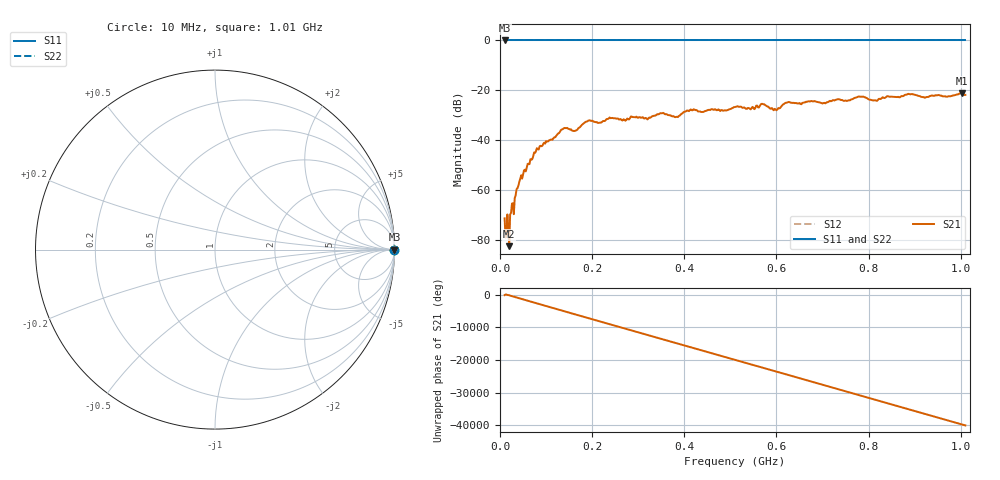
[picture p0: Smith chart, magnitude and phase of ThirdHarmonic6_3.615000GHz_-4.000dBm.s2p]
! 8/17/2025 12:05:06 PM
! C:\ANRITSUVNA\TEMP\TEMP.S2P
! CHANNEL.1
! TR.MEASUREMENT
! RAW.DATA
! RF.CORRECTION.OFF
! AVERAGING.OFF
! IF.BANDWIDTH: 5KHZ
! SWEEPTYPE:  FREQ.SWEEP(Linear)
! Reference Plane Port Info
! PORT:  PORT1  PORT2
! DISTANCE:  0  m  0  m
! TIME:  0  s  0  s
! PHASE.OFFSET:  0  deg.  0  deg.
! LOSS:  0  dB  0  dB
! REF.LOSS:  0  dB  0  dB
! REF.FREQ:  0  Hz  0  Hz
! Power Info
! POWER:  -20  dBm  -20  dBm
! EFF.POWER:  -20  dBm  -20  dBm
! SOURCE.ATTEN:  0  dB  0  dB
! TEST.ATTEN:  0  dB  0  dB
# GHZ S RI R 50.0
! FREQ.GHZ  S11RE  S11IM  S21RE  S21IM  S12RE  S12IM  S22RE  S22IM
!; PortSelection: Port_12
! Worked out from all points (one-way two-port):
!   501 points, 10 MHz to 1.01 GHz, reference 50 ohm
!   highest |S21| = -21.20 dB at 1.002 GHz (marker M1); lowest = -82.5 dB at 20 MHz (marker M2)
!   lowest |S11| = 0.0 dB at 10 MHz (marker M3)
!   |S11| at or under -10 dB: nowhere
!   |S22| runs from 0.0 to 0.0 dB; largest |S21 - S12| = 1.1
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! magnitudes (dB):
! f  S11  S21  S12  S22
! 10 MHz  0.0  -71.3  0.0  0.0
! 16 MHz  0.0  -69.7  0.0  0.0
! 20 MHz  0.0  -82.5  0.0  0.0
! 42 MHz  0.0  -56.6  0.0  0.0
! 78 MHz  0.0  -44.4  0.0  0.0
! 136 MHz  0.0  -35.6  0.0  0.0
! 162 MHz  0.0  -36.3  0.0  0.0
! 178 MHz  0.0  -33.8  0.0  0.0
! 192 MHz  0.0  -32.1  0.0  0.0
! 344 MHz  0.0  -29.6  0.0  0.0
! 382 MHz  0.0  -30.7  0.0  0.0
! 416 MHz  0.0  -28.0  0.0  0.0
! 510 MHz  0.0  -26.7  0.0  0.0
! 570 MHz  0.0  -25.4  0.0  0.0
! 598 MHz  0.0  -27.7  0.0  0.0
! 624 MHz  0.0  -24.8  0.0  0.0
! 678 MHz  0.0  -24.4  0.0  0.0
! 782 MHz  0.0  -22.5  0.0  0.0
! 814 MHz  0.0  -24.0  0.0  0.0
! 844 MHz  0.0  -22.5  0.0  0.0
! 1.002 GHz  0.0  -21.2  0.0  0.0
! 1.01 GHz  0.0  -21.8  0.0  0.0
